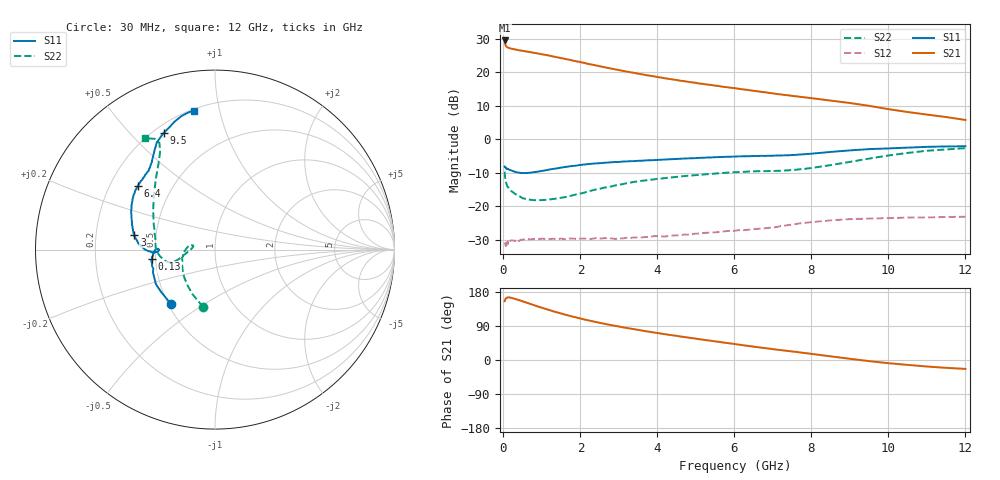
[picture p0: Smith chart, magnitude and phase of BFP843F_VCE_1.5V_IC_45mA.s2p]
! Infineon Technologies  Discrete & RF Semiconductors
! BFP843F
! VCE =  1.5 V,  IC =  45 mA
! Common Emitter S-Parameters:  Aug 2013
# GHz  S  MA  R  50
!  f  S11  S21  S12  S22
! GHz  MAG  ANG  MAG  ANG  MAG  ANG  MAG  ANG
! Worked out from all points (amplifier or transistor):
!   103 points, 30 MHz to 12 GHz, reference 50 ohm
!   highest |S21| = 29.5 dB at 30 MHz (marker M1)
!   |S21| within 3 dB of that: start of sweep to 442.7 MHz
!   unconditionally stable (mu >= 1): 73.71 MHz to end of sweep
!   at 400 MHz: K = 1.05, MAG = 27.1 dB, |S12| = -30.4 dB
!   at 3.7 GHz: K = 1.32, MAG = 20.8 dB, |S12| = -29.2 dB
!   at 12 GHz: K = 1.13, MAG = 12.3 dB, |S12| = -23.2 dB
!   S11 on the Smith chart (normalised r, x): 30 MHz: 0.52, -0.37; 130 MHz: 0.48, -0.06; 3 GHz: 0.38, +0.08; 6.4 GHz: 0.32, +0.33; 9.5 GHz: 0.24, +0.63; 12 GHz: 0.21, +0.84
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0.03  0.3895 -129.4  29.82 155.1  0.0282 24.0  0.3272 -101.5
0.04  0.3818 -142.2  27.26 157.3  0.0278 18.4  0.2782 -116.9
0.05  0.3813 -149.7  25.76 160.7  0.0281 11.4  0.2516 -127.4
0.06  0.3722 -155.5  25.01 162.1  0.0252 13.3  0.233 -136.6
0.08  0.3598 -162.8  24.12 164.1  0.0253 10.2  0.2135 -147.8
0.13  0.355 -171.6  23.2 165.3  0.0277 11.2  0.1895 -165.8
0.25  0.3325 -179.8  22.22 162.8  0.0307 7.2  0.1602 178.4
0.7  0.3159 -178.6  19.93 147.9  0.0318 6.2  0.1243 169.4
1.1  0.3429 -177.5  18.12 134.7  0.0324 7.0  0.124 173.3
1.6  0.3839 -179.6  15.82 119.8  0.0321 8.1  0.1362 -179.2
2.1  0.4179 176.6  13.76 107.0  0.0328 10.8  0.159 -173.5
2.5  0.437 173.4  12.3 98.1  0.0327 11.2  0.1811 -169.3
3  0.4567 169.5  10.78 88.4  0.033 14.8  0.2086 -165.3
3.5  0.4747 165.5  9.519 79.4  0.034 17.3  0.2339 -163.5
4.1  0.4933 160.3  8.309 69.6  0.0353 20.8  0.2583 -164.0
5  0.5214 153.1  6.934 56.3  0.0387 25.1  0.2902 -168.5
6.1  0.5529 143.5  5.667 40.7  0.0437 28.6  0.3223 -178.2
6.4  0.5567 140.5  5.379 36.6  0.0445 29.1  0.3298 178.5
8.5  0.6446 121.6  3.77 9.6  0.0612 27.5  0.4095 147.3
9.5  0.7101 113.8  3.146 -3.0  0.0651 22.6  0.5129 130.0
10.5  0.7474 107.6  2.544 -12.9  0.0674 19.1  0.6232 119.4
12  0.7825 98.4  1.936 -23.5  0.0694 18.0  0.7339 122.2
